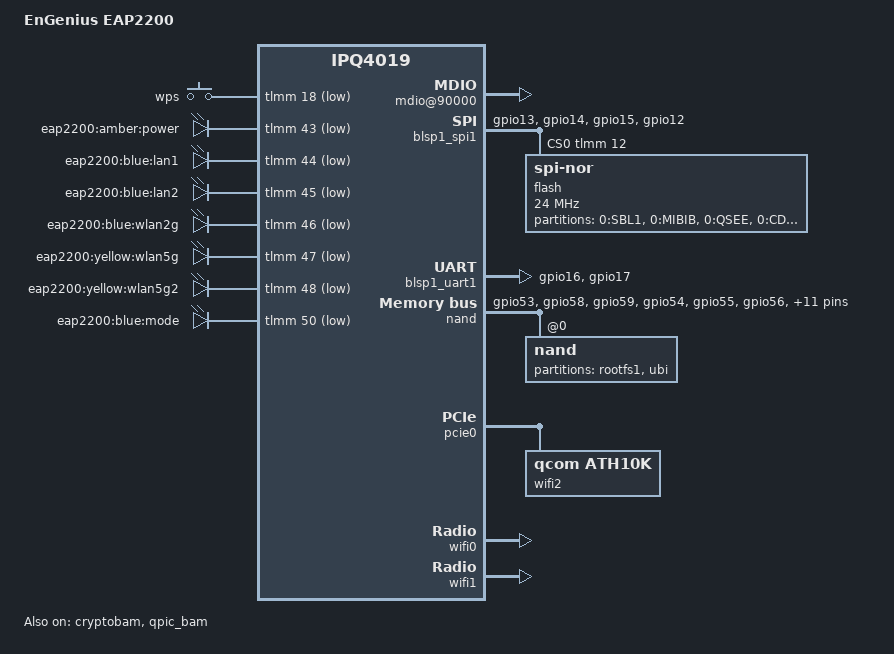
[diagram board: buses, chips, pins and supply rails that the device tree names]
// SPDX-License-Identifier: GPL-2.0-or-later OR MIT

#include "qcom-ipq4019.dtsi"
#include <dt-bindings/gpio/gpio.h>
#include <dt-bindings/input/input.h>

/ {
	model = "EnGenius EAP2200";
	compatible = "engenius,eap2200";

	aliases {
		led-boot = &led_power;
		led-failsafe = &led_power;
		led-running = &led_power;
		led-upgrade = &led_power;
	};

	keys {
		compatible = "gpio-keys";

		wps {
			label = "wps";
			gpios = <&tlmm 18 GPIO_ACTIVE_LOW>;
			linux,code = <KEY_WPS_BUTTON>;
		};
	};

	leds {
		compatible = "gpio-leds";

		led_power: power {
			label = "eap2200:amber:power";
			gpios = <&tlmm 43 GPIO_ACTIVE_LOW>;
		};

		lan1 {
			label = "eap2200:blue:lan1";
			gpios = <&tlmm 44 GPIO_ACTIVE_LOW>;
		};

		lan2 {
			label = "eap2200:blue:lan2";
			gpios = <&tlmm 45 GPIO_ACTIVE_LOW>;
		};

		wlan2g {
			label = "eap2200:blue:wlan2g";
			gpios = <&tlmm 46 GPIO_ACTIVE_LOW>;
			linux,default-trigger = "phy0tpt";
		};

		wlan5g {
			label = "eap2200:yellow:wlan5g";
			gpios = <&tlmm 47 GPIO_ACTIVE_LOW>;
			linux,default-trigger = "phy1tpt";
		};

		wlan5g2 {
			label = "eap2200:yellow:wlan5g2";
			gpios = <&tlmm 48 GPIO_ACTIVE_LOW>;
			linux,default-trigger = "phy2tpt";
		};

		mode {
			label = "eap2200:blue:mode";
			gpios = <&tlmm 50 GPIO_ACTIVE_LOW>;
		};
	};

	soc {
		rng@22000 {
			status = "okay";
		};

		mdio@90000 {
			status = "okay";
		};

		ess-psgmii@98000 {
			status = "okay";
		};

		crypto@8e3a000 {
			status = "okay";
		};

		watchdog@b017000 {
			status = "okay";
		};

		ess-switch@c000000 {
			status = "okay";
			switch_lan_bmp = <0x10>;
		};

		edma@c080000 {
			status = "okay";
		};
	};
};

&blsp_dma {
	status = "okay";
};

&blsp1_spi1 {
	pinctrl-0 = <&spi_0_pins>;
	pinctrl-names = "default";
	status = "okay";
	cs-gpios = <&tlmm 12 GPIO_ACTIVE_HIGH>;

	flash@0 {
		#address-cells = <1>;
		#size-cells = <1>;
		compatible = "jedec,spi-nor";
		reg = <0>;
		spi-max-frequency = <24000000>;
		partitions {
			compatible = "fixed-partitions";
			#address-cells = <1>;
			#size-cells = <1>;

			partition0@0 {
				label = "0:SBL1";
				reg = <0x00000000 0x00040000>;
				read-only;
			};
			partition1@40000 {
				label = "0:MIBIB";
				reg = <0x00040000 0x00020000>;
				read-only;
			};
			partition2@60000 {
				label = "0:QSEE";
				reg = <0x00060000 0x00060000>;
				read-only;
			};
			partition3@c0000 {
				label = "0:CDT";
				reg = <0x000c0000 0x00010000>;
				read-only;
			};
			partition4@d0000 {
				label = "0:DDRPARAMS";
				reg = <0x000d0000 0x00010000>;
				read-only;
			};
			partition5@e0000 {
				label = "0:APPSBLENV";
				reg = <0x000e0000 0x00010000>;
				read-only;
			};
			partition6@f0000 {
				label = "0:APPSBL";
				reg = <0x000f0000 0x00080000>;
				read-only;
			};
			partition7@170000 {
				label = "0:ART";
				reg = <0x00170000 0x00010000>;
				read-only;
			};
		};
	};
};

&blsp1_uart1 {
	pinctrl-0 = <&serial_0_pins>;
	pinctrl-names = "default";
	status = "okay";
};

&cryptobam {
	status = "okay";
};

&gmac0 {
	vlan_tag = <1 0x10>;
};

&nand {
	pinctrl-0 = <&nand_pins>;
	pinctrl-names = "default";
	status = "okay";

	nand@0 {
		partitions {
			compatible = "fixed-partitions";
			#address-cells = <1>;
			#size-cells = <1>;

			partition@0 {
				label = "rootfs1";
				reg = <0x00000000 0x04000000>;
			};
			partition@40000000 {
				label = "ubi";
				reg = <0x04000000 0x04000000>;
			};

		};
	};
};

&pcie0 {
	status = "okay";
	perst-gpio = <&tlmm 38 GPIO_ACTIVE_LOW>;
	wake-gpio = <&tlmm 50 GPIO_ACTIVE_LOW>;

	bridge@0,0 {
		reg = <0x00000000 0 0 0 0>;
		#address-cells = <3>;
		#size-cells = <2>;
		ranges;

		wifi2: wifi@1,0 {
			compatible = "qcom,ath10k";
			reg = <0x00010000 0 0 0 0>;
			ieee80211-freq-limit = <5470000 5875000>;
			qcom,ath10k-calibration-variant = "EnGenius-EAP2200";
		};
	};
};

&qpic_bam {
	status = "okay";
};

&tlmm {
	nand_pins: nand_pins {
		pullups {
			pins = "gpio53", "gpio58", "gpio59";
			function = "qpic";
			bias-pull-up;
		};

		pulldowns {
			pins = "gpio54", "gpio55", "gpio56",
				"gpio57", "gpio60", "gpio61",
				"gpio62", "gpio63", "gpio64",
				"gpio65", "gpio66", "gpio67",
				"gpio68", "gpio69";
			function = "qpic";
			bias-pull-down;
		};
	};

	serial_0_pins: serial_pinmux {
		mux {
			pins = "gpio16", "gpio17";
			function = "blsp_uart0";
			bias-disable;
		};
	};

	spi_0_pins: spi_0_pinmux {
		pinmux {
			function = "blsp_spi0";
			pins = "gpio13", "gpio14", "gpio15";
			drive-strength = <12>;
			bias-disable;
		};
		pinmux_cs {
			function = "gpio";
			pins = "gpio12";
			drive-strength = <2>;
			bias-disable;
			output-high;
		};
	};
};

&wifi0 {
	status = "okay";
	qcom,ath10k-calibration-variant = "EnGenius-EAP2200";
};

&wifi1 {
	status = "okay";
	ieee80211-freq-limit = <5170000 5350000>;
	qcom,ath10k-calibration-variant = "EnGenius-EAP2200";
};
